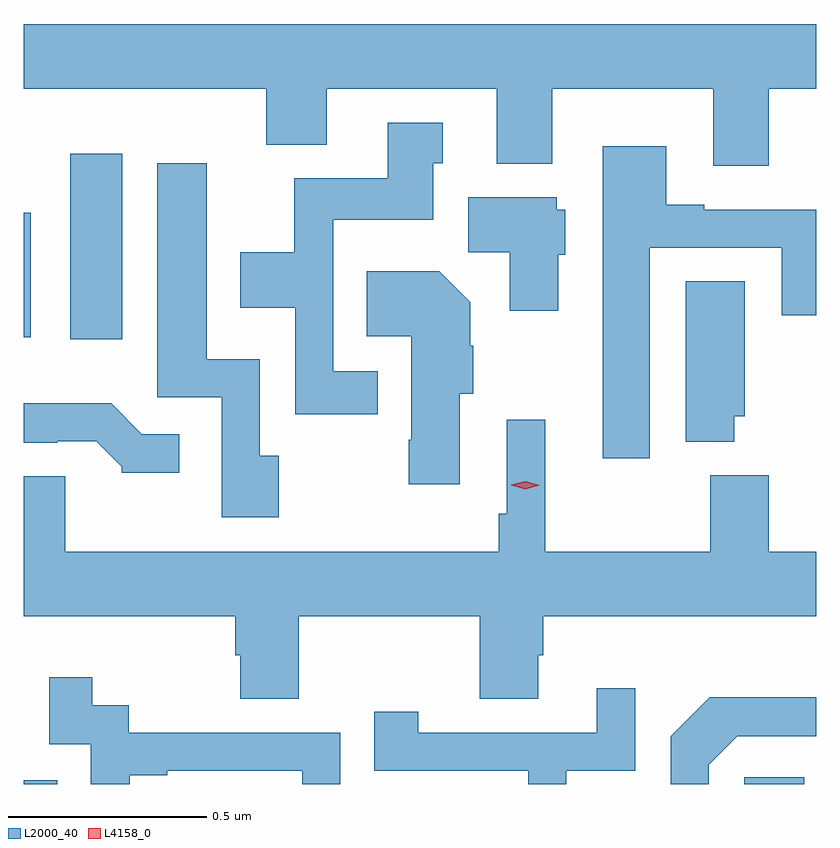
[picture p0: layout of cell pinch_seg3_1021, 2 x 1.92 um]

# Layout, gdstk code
import gdstk
lib = gdstk.Library(unit=1e-6, precision=1e-09)
def R(c, l, rs):  # rectangles x0, y0, x1, y1
    for r in rs: c.add(gdstk.rectangle(r[:2], r[2:], *l))
def P(c, l, *ps):  # polygons
    for p in ps: c.add(gdstk.Polygon(p, *l))
L2000_40 = (2000, 40)
L4158_0 = (4158, 0)

pinch_seg3_1021 = lib.new_cell('pinch_seg3_1021')
R(pinch_seg3_1021, L2000_40, [(491.807,705.821,491.891,705.831), (493.626,705.821,493.777,705.838), (491.924,706.944,492.055,707.413), (491.807,706.949,491.824,707.263)])
P(pinch_seg3_1021, L2000_40, [(493.687,707.576),(493.807,707.576),(493.807,707.74),(491.807,707.74),(491.807,707.576),(492.419,707.576),(492.419,707.435),(492.571,707.435),(492.571,707.576),(493.001,707.576),(493.001,707.387),(493.141,707.387),(493.141,707.576),(493.547,707.576),(493.547,707.382),(493.687,707.382)],
  [(492.7,706.863),(492.588,706.863),(492.588,707.246),(492.841,707.246),(492.841,707.388),(492.865,707.388),(492.865,707.491),(492.725,707.491),(492.725,707.35),(492.49,707.35),(492.49,707.164),(492.353,707.164),(492.353,707.024),(492.492,707.024),(492.492,706.755),(492.7,706.755)],
  [(493.387,707.175),(493.721,707.175),(493.721,707.004),(493.807,707.004),(493.807,707.271),(493.525,707.271),(493.525,707.284),(493.429,707.284),(493.429,707.431),(493.268,707.431),(493.268,706.644),(493.387,706.644)],
  [(492.45,706.65),(492.402,706.65),(492.402,706.894),(492.268,706.894),(492.268,707.389),(492.143,707.389),(492.143,706.797),(492.306,706.797),(492.306,706.494),(492.45,706.494)],
  [(493.156,707.157),(493.174,707.157),(493.174,707.271),(493.152,707.271),(493.152,707.302),(492.929,707.302),(492.929,707.164),(493.034,707.164),(493.034,707.016),(493.156,707.016)],
  [(492.907,706.806),(492.942,706.806),(492.942,706.928),(492.934,706.928),(492.934,707.038),(492.856,707.116),(492.673,707.116),(492.673,706.952),(492.785,706.952),(492.785,706.69),(492.778,706.69),(492.778,706.578),(492.907,706.578)],
  [(493.6,706.749),(493.627,706.749),(493.627,707.09),(493.478,707.09),(493.478,706.685),(493.6,706.685)],
  [(492.199,706.704),(492.105,706.704),(492.027,706.783),(491.807,706.783),(491.807,706.683),(491.891,706.683),(491.891,706.686),(491.99,706.686),(492.054,706.622),(492.054,706.607),(492.199,706.607)],
  [(492.501,706.244),(492.958,706.244),(492.958,706.036),(493.105,706.036),(493.105,706.146),(493.118,706.146),(493.118,706.244),(493.807,706.244),(493.807,706.408),(493.687,706.408),(493.687,706.6),(493.54,706.6),(493.54,706.408),(493.123,706.408),(493.123,706.741),(493.026,706.741),(493.026,706.504),(493.006,706.504),(493.006,706.408),(491.911,706.408),(491.911,706.598),(491.807,706.598),(491.807,706.244),(492.341,706.244),(492.341,706.146),(492.353,706.146),(492.353,706.036),(492.501,706.036)],
  [(492.074,705.843),(492.169,705.843),(492.169,705.855),(492.51,705.855),(492.51,705.821),(492.606,705.821),(492.606,705.951),(492.072,705.951),(492.072,706.02),(491.98,706.02),(491.98,706.09),(491.871,706.09),(491.871,705.921),(491.976,705.921),(491.976,705.821),(492.074,705.821)],
  [(493.176,705.855),(493.35,705.855),(493.35,706.063),(493.253,706.063),(493.253,705.951),(492.802,705.951),(492.802,706.003),(492.691,706.003),(492.691,705.855),(493.08,705.855),(493.08,705.821),(493.176,705.821)],
  [(493.536,705.87),(493.608,705.942),(493.807,705.942),(493.807,706.04),(493.538,706.04),(493.44,705.942),(493.44,705.821),(493.536,705.821)])
P(pinch_seg3_1021, L4158_0, [(493.073,706.565),(493.037,706.575),(493.037,706.575),(493.037,706.576),(493.073,706.585),(493.109,706.575),(493.109,706.575),(493.109,706.575)])

lib.write_gds('pinch_seg3_1021.gds')
